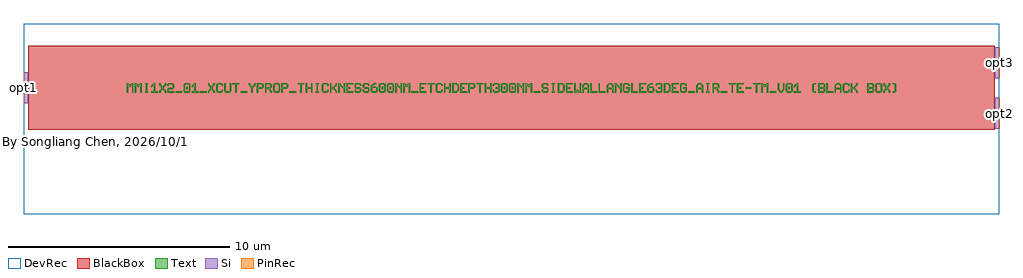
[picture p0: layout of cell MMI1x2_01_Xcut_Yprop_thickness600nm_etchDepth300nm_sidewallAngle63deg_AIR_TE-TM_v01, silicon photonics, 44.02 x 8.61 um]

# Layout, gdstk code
import gdstk
lib = gdstk.Library(unit=1e-6, precision=1e-10)
def R(c, l, rs):  # rectangles x0, y0, x1, y1
    for r in rs: c.add(gdstk.rectangle(r[:2], r[2:], *l))
def A(c, l, x, y, w, h, nx, ny, dx, dy):  # array of equal rectangles
    R(c, l, [(x+i*dx, y+j*dy, x+i*dx+w, y+j*dy+h) for i in range(nx) for j in range(ny)])
def P(c, l, *ps):  # polygons
    for p in ps: c.add(gdstk.Polygon(p, *l))
Si = (1, 0)
PinRec = (1, 10)
Text = (10, 0)
DevRec = (68, 0)
BlackBox = (998, 0)

text = lib.new_cell('TEXT')
A(text, Text, 7.34, 0, 0.306, 0.061, 3, 1, 5.505, 0)
R(text, Text, [(2.202,0,2.508,0.061), (3.303,0,3.609,0.061), (5.138,0,5.444,0.061), (25.323,0,25.629,0.061), (26.791,0,27.097,0.061), (28.993,0,29.299,0.061), (2.691,0.153,2.753,0.275), (11.499,0.153,11.561,0.275), (11.866,0.153,11.928,0.275), (17.004,0.153,17.066,0.275), (17.371,0.153,17.433,0.275), (29.849,0.153,29.911,0.275), (27.923,0.184,28.167,0.245)])
P(text, Text, [(0,0),(0,0.428),(0.061,0.428),(0.122,0.367),(0.184,0.367),(0.245,0.428),(0.306,0.428),(0.306,0),(0.245,0),(0.245,0.306),(0.214,0.306),(0.153,0.245),(0.092,0.306),(0.061,0.306),(0.061,0)],
  [(0.367,0),(0.367,0.428),(0.428,0.428),(0.489,0.367),(0.551,0.367),(0.612,0.428),(0.673,0.428),(0.673,0),(0.612,0),(0.612,0.306),(0.581,0.306),(0.52,0.245),(0.459,0.306),(0.428,0.306),(0.428,0)],
  [(0.826,0),(0.826,0.061),(0.856,0.061),(0.856,0.367),(0.826,0.367),(0.826,0.428),(0.948,0.428),(0.948,0.367),(0.918,0.367),(0.918,0.061),(0.948,0.061),(0.948,0)],
  [(1.101,0),(1.101,0.061),(1.223,0.061),(1.223,0.306),(1.193,0.306),(1.132,0.245),(1.101,0.245),(1.101,0.306),(1.223,0.428),(1.285,0.428),(1.285,0.061),(1.407,0.061),(1.407,0)],
  [(1.468,0),(1.468,0.092),(1.56,0.184),(1.56,0.245),(1.468,0.337),(1.468,0.428),(1.529,0.428),(1.529,0.367),(1.621,0.275),(1.713,0.367),(1.713,0.428),(1.774,0.428),(1.774,0.337),(1.682,0.245),(1.682,0.184),(1.774,0.092),(1.774,0),(1.713,0),(1.713,0.061),(1.621,0.153),(1.529,0.061),(1.529,0)],
  [(1.835,0),(1.835,0.153),(1.896,0.214),(2.049,0.214),(2.08,0.245),(2.08,0.337),(2.049,0.367),(1.927,0.367),(1.896,0.337),(1.896,0.306),(1.835,0.306),(1.835,0.367),(1.896,0.428),(2.08,0.428),(2.141,0.367),(2.141,0.214),(2.08,0.153),(1.927,0.153),(1.896,0.122),(1.896,0.061),(2.141,0.061),(2.141,0)],
  [(2.63,0),(2.569,0.061),(2.569,0.367),(2.63,0.428),(2.814,0.428),(2.875,0.367),(2.661,0.367),(2.63,0.337),(2.63,0.092),(2.661,0.061),(2.783,0.061),(2.814,0.092),(2.814,0.337),(2.783,0.367),(2.875,0.367),(2.875,0.061),(2.814,0)],
  [(2.936,0),(2.936,0.061),(3.058,0.061),(3.058,0.306),(3.028,0.306),(2.967,0.245),(2.936,0.245),(2.936,0.306),(3.058,0.428),(3.12,0.428),(3.12,0.061),(3.242,0.061),(3.242,0)],
  [(3.67,0),(3.67,0.092),(3.762,0.184),(3.762,0.245),(3.67,0.337),(3.67,0.428),(3.731,0.428),(3.731,0.367),(3.823,0.275),(3.915,0.367),(3.915,0.428),(3.976,0.428),(3.976,0.337),(3.884,0.245),(3.884,0.184),(3.976,0.092),(3.976,0),(3.915,0),(3.915,0.061),(3.823,0.153),(3.731,0.061),(3.731,0)],
  [(4.098,0),(4.037,0.061),(4.037,0.367),(4.098,0.428),(4.282,0.428),(4.343,0.367),(4.343,0.306),(4.282,0.306),(4.282,0.337),(4.251,0.367),(4.129,0.367),(4.098,0.337),(4.098,0.092),(4.129,0.061),(4.251,0.061),(4.282,0.092),(4.282,0.122),(4.343,0.122),(4.343,0.061),(4.282,0)],
  [(4.465,0),(4.404,0.061),(4.404,0.428),(4.465,0.428),(4.465,0.092),(4.496,0.061),(4.618,0.061),(4.649,0.092),(4.649,0.428),(4.71,0.428),(4.71,0.061),(4.649,0)],
  [(4.893,0),(4.893,0.367),(4.771,0.367),(4.771,0.428),(5.077,0.428),(5.077,0.367),(4.955,0.367),(4.955,0)],
  [(5.627,0),(5.627,0.214),(5.505,0.337),(5.505,0.428),(5.566,0.428),(5.566,0.367),(5.658,0.275),(5.75,0.367),(5.75,0.428),(5.811,0.428),(5.811,0.337),(5.689,0.214),(5.689,0)],
  [(5.872,0),(5.872,0.428),(6.117,0.428),(6.178,0.367),(6.178,0.245),(6.117,0.184),(5.933,0.184),(5.933,0.245),(6.086,0.245),(6.117,0.275),(6.117,0.337),(6.086,0.367),(5.933,0.367),(5.933,0)],
  [(6.239,0),(6.239,0.428),(6.484,0.428),(6.545,0.367),(6.3,0.367),(6.3,0.245),(6.453,0.245),(6.484,0.275),(6.484,0.337),(6.453,0.367),(6.545,0.367),(6.545,0.245),(6.484,0.184),(6.484,0.153),(6.545,0.092),(6.545,0),(6.484,0),(6.484,0.061),(6.361,0.184),(6.3,0.184),(6.3,0)],
  [(6.667,0),(6.606,0.061),(6.606,0.367),(6.667,0.428),(6.851,0.428),(6.912,0.367),(6.912,0.214),(6.851,0.214),(6.851,0.337),(6.82,0.367),(6.698,0.367),(6.667,0.337),(6.667,0.092),(6.698,0.061),(6.82,0.061),(6.851,0.092),(6.851,0.214),(6.912,0.214),(6.912,0.061),(6.851,0)],
  [(6.973,0),(6.973,0.428),(7.218,0.428),(7.279,0.367),(7.279,0.245),(7.218,0.184),(7.034,0.184),(7.034,0.245),(7.187,0.245),(7.218,0.275),(7.218,0.337),(7.187,0.367),(7.034,0.367),(7.034,0)],
  [(7.829,0),(7.829,0.367),(7.707,0.367),(7.707,0.428),(8.013,0.428),(8.013,0.367),(7.891,0.367),(7.891,0)],
  [(8.074,0),(8.074,0.428),(8.135,0.428),(8.135,0.245),(8.319,0.245),(8.319,0.428),(8.38,0.428),(8.38,0),(8.319,0),(8.319,0.184),(8.135,0.184),(8.135,0)],
  [(8.533,0),(8.533,0.061),(8.563,0.061),(8.563,0.367),(8.533,0.367),(8.533,0.428),(8.655,0.428),(8.655,0.367),(8.625,0.367),(8.625,0.061),(8.655,0.061),(8.655,0)],
  [(8.869,0),(8.808,0.061),(8.808,0.367),(8.869,0.428),(9.053,0.428),(9.114,0.367),(9.114,0.306),(9.053,0.306),(9.053,0.337),(9.022,0.367),(8.9,0.367),(8.869,0.337),(8.869,0.092),(8.9,0.061),(9.022,0.061),(9.053,0.092),(9.053,0.122),(9.114,0.122),(9.114,0.061),(9.053,0)],
  [(9.175,0),(9.175,0.428),(9.236,0.428),(9.236,0.245),(9.297,0.245),(9.42,0.367),(9.42,0.428),(9.481,0.428),(9.481,0.337),(9.359,0.214),(9.481,0.092),(9.481,0),(9.42,0),(9.42,0.061),(9.297,0.184),(9.236,0.184),(9.236,0)],
  [(9.542,0),(9.542,0.428),(9.603,0.428),(9.756,0.275),(9.787,0.275),(9.787,0.428),(9.848,0.428),(9.848,0),(9.787,0),(9.787,0.153),(9.634,0.306),(9.603,0.306),(9.603,0)],
  [(9.909,0),(9.909,0.428),(10.215,0.428),(10.215,0.367),(9.97,0.367),(9.97,0.245),(10.093,0.245),(10.093,0.184),(9.97,0.184),(9.97,0.061),(10.215,0.061),(10.215,0)],
  [(10.337,0),(10.276,0.061),(10.276,0.122),(10.337,0.122),(10.337,0.092),(10.368,0.061),(10.49,0.061),(10.521,0.092),(10.521,0.153),(10.49,0.184),(10.337,0.184),(10.276,0.245),(10.276,0.367),(10.337,0.428),(10.521,0.428),(10.582,0.367),(10.582,0.306),(10.521,0.306),(10.521,0.337),(10.49,0.367),(10.368,0.367),(10.337,0.337),(10.337,0.275),(10.368,0.245),(10.521,0.245),(10.582,0.184),(10.582,0.061),(10.521,0)],
  [(10.704,0),(10.643,0.061),(10.643,0.122),(10.704,0.122),(10.704,0.092),(10.735,0.061),(10.857,0.061),(10.888,0.092),(10.888,0.153),(10.857,0.184),(10.704,0.184),(10.643,0.245),(10.643,0.367),(10.704,0.428),(10.888,0.428),(10.949,0.367),(10.949,0.306),(10.888,0.306),(10.888,0.337),(10.857,0.367),(10.735,0.367),(10.704,0.337),(10.704,0.275),(10.735,0.245),(10.888,0.245),(10.949,0.184),(10.949,0.061),(10.888,0)],
  [(11.071,0),(11.01,0.061),(11.01,0.306),(11.132,0.428),(11.255,0.428),(11.255,0.367),(11.163,0.367),(11.102,0.306),(11.102,0.275),(11.255,0.275),(11.316,0.214),(11.102,0.214),(11.071,0.184),(11.071,0.092),(11.102,0.061),(11.224,0.061),(11.255,0.092),(11.255,0.184),(11.224,0.214),(11.316,0.214),(11.316,0.061),(11.255,0)],
  [(11.438,0),(11.377,0.061),(11.377,0.367),(11.438,0.428),(11.622,0.428),(11.683,0.367),(11.469,0.367),(11.438,0.337),(11.438,0.092),(11.469,0.061),(11.591,0.061),(11.622,0.092),(11.622,0.337),(11.591,0.367),(11.683,0.367),(11.683,0.061),(11.622,0)],
  [(11.805,0),(11.744,0.061),(11.744,0.367),(11.805,0.428),(11.989,0.428),(12.05,0.367),(11.836,0.367),(11.805,0.337),(11.805,0.092),(11.836,0.061),(11.958,0.061),(11.989,0.092),(11.989,0.337),(11.958,0.367),(12.05,0.367),(12.05,0.061),(11.989,0)],
  [(12.111,0),(12.111,0.428),(12.172,0.428),(12.325,0.275),(12.356,0.275),(12.356,0.428),(12.417,0.428),(12.417,0),(12.356,0),(12.356,0.153),(12.203,0.306),(12.172,0.306),(12.172,0)],
  [(12.478,0),(12.478,0.428),(12.539,0.428),(12.6,0.367),(12.662,0.367),(12.723,0.428),(12.784,0.428),(12.784,0),(12.723,0),(12.723,0.306),(12.692,0.306),(12.631,0.245),(12.57,0.306),(12.539,0.306),(12.539,0)],
  [(13.212,0),(13.212,0.428),(13.518,0.428),(13.518,0.367),(13.273,0.367),(13.273,0.245),(13.396,0.245),(13.396,0.184),(13.273,0.184),(13.273,0.061),(13.518,0.061),(13.518,0)],
  [(13.701,0),(13.701,0.367),(13.579,0.367),(13.579,0.428),(13.885,0.428),(13.885,0.367),(13.763,0.367),(13.763,0)],
  [(14.007,0),(13.946,0.061),(13.946,0.367),(14.007,0.428),(14.191,0.428),(14.252,0.367),(14.252,0.306),(14.191,0.306),(14.191,0.337),(14.16,0.367),(14.038,0.367),(14.007,0.337),(14.007,0.092),(14.038,0.061),(14.16,0.061),(14.191,0.092),(14.191,0.122),(14.252,0.122),(14.252,0.061),(14.191,0)],
  [(14.313,0),(14.313,0.428),(14.374,0.428),(14.374,0.245),(14.558,0.245),(14.558,0.428),(14.619,0.428),(14.619,0),(14.558,0),(14.558,0.184),(14.374,0.184),(14.374,0)],
  [(14.68,0),(14.68,0.428),(14.894,0.428),(14.955,0.367),(14.741,0.367),(14.741,0.061),(14.864,0.061),(14.925,0.122),(14.925,0.306),(14.864,0.367),(14.955,0.367),(14.986,0.337),(14.986,0.092),(14.894,0)],
  [(15.047,0),(15.047,0.428),(15.353,0.428),(15.353,0.367),(15.108,0.367),(15.108,0.245),(15.231,0.245),(15.231,0.184),(15.108,0.184),(15.108,0.061),(15.353,0.061),(15.353,0)],
  [(15.414,0),(15.414,0.428),(15.659,0.428),(15.72,0.367),(15.72,0.245),(15.659,0.184),(15.475,0.184),(15.475,0.245),(15.628,0.245),(15.659,0.275),(15.659,0.337),(15.628,0.367),(15.475,0.367),(15.475,0)],
  [(15.903,0),(15.903,0.367),(15.781,0.367),(15.781,0.428),(16.087,0.428),(16.087,0.367),(15.965,0.367),(15.965,0)],
  [(16.148,0),(16.148,0.428),(16.209,0.428),(16.209,0.245),(16.393,0.245),(16.393,0.428),(16.454,0.428),(16.454,0),(16.393,0),(16.393,0.184),(16.209,0.184),(16.209,0)],
  [(16.576,0),(16.515,0.061),(16.515,0.122),(16.576,0.122),(16.576,0.092),(16.607,0.061),(16.729,0.061),(16.76,0.092),(16.76,0.153),(16.729,0.184),(16.637,0.184),(16.637,0.245),(16.729,0.245),(16.76,0.275),(16.76,0.337),(16.729,0.367),(16.607,0.367),(16.576,0.337),(16.576,0.306),(16.515,0.306),(16.515,0.367),(16.576,0.428),(16.76,0.428),(16.821,0.367),(16.821,0.245),(16.79,0.214),(16.821,0.184),(16.821,0.061),(16.76,0)],
  [(16.943,0),(16.882,0.061),(16.882,0.367),(16.943,0.428),(17.127,0.428),(17.188,0.367),(16.974,0.367),(16.943,0.337),(16.943,0.092),(16.974,0.061),(17.096,0.061),(17.127,0.092),(17.127,0.337),(17.096,0.367),(17.188,0.367),(17.188,0.061),(17.127,0)],
  [(17.31,0),(17.249,0.061),(17.249,0.367),(17.31,0.428),(17.494,0.428),(17.555,0.367),(17.341,0.367),(17.31,0.337),(17.31,0.092),(17.341,0.061),(17.463,0.061),(17.494,0.092),(17.494,0.337),(17.463,0.367),(17.555,0.367),(17.555,0.061),(17.494,0)],
  [(17.616,0),(17.616,0.428),(17.677,0.428),(17.83,0.275),(17.861,0.275),(17.861,0.428),(17.922,0.428),(17.922,0),(17.861,0),(17.861,0.153),(17.708,0.306),(17.677,0.306),(17.677,0)],
  [(17.983,0),(17.983,0.428),(18.044,0.428),(18.105,0.367),(18.167,0.367),(18.228,0.428),(18.289,0.428),(18.289,0),(18.228,0),(18.228,0.306),(18.197,0.306),(18.136,0.245),(18.075,0.306),(18.044,0.306),(18.044,0)],
  [(18.778,0),(18.717,0.061),(18.717,0.122),(18.778,0.122),(18.778,0.092),(18.809,0.061),(18.931,0.061),(18.962,0.092),(18.962,0.153),(18.931,0.184),(18.778,0.184),(18.717,0.245),(18.717,0.367),(18.778,0.428),(18.962,0.428),(19.023,0.367),(19.023,0.306),(18.962,0.306),(18.962,0.337),(18.931,0.367),(18.809,0.367),(18.778,0.337),(18.778,0.275),(18.809,0.245),(18.962,0.245),(19.023,0.184),(19.023,0.061),(18.962,0)],
  [(19.176,0),(19.176,0.061),(19.206,0.061),(19.206,0.367),(19.176,0.367),(19.176,0.428),(19.298,0.428),(19.298,0.367),(19.268,0.367),(19.268,0.061),(19.298,0.061),(19.298,0)],
  [(19.451,0),(19.451,0.428),(19.665,0.428),(19.726,0.367),(19.512,0.367),(19.512,0.061),(19.635,0.061),(19.696,0.122),(19.696,0.306),(19.635,0.367),(19.726,0.367),(19.757,0.337),(19.757,0.092),(19.665,0)],
  [(19.818,0),(19.818,0.428),(20.124,0.428),(20.124,0.367),(19.879,0.367),(19.879,0.245),(20.002,0.245),(20.002,0.184),(19.879,0.184),(19.879,0.061),(20.124,0.061),(20.124,0)],
  [(20.185,0),(20.185,0.428),(20.246,0.428),(20.246,0.092),(20.277,0.092),(20.338,0.153),(20.399,0.092),(20.43,0.092),(20.43,0.428),(20.491,0.428),(20.491,0),(20.399,0),(20.338,0.061),(20.277,0)],
  [(20.552,0),(20.552,0.337),(20.644,0.428),(20.766,0.428),(20.827,0.367),(20.674,0.367),(20.613,0.306),(20.613,0.214),(20.797,0.214),(20.797,0.306),(20.736,0.367),(20.827,0.367),(20.858,0.337),(20.858,0),(20.797,0),(20.797,0.153),(20.613,0.153),(20.613,0)],
  [(20.919,0),(20.919,0.428),(20.98,0.428),(20.98,0.061),(21.225,0.061),(21.225,0)],
  [(21.286,0),(21.286,0.428),(21.347,0.428),(21.347,0.061),(21.592,0.061),(21.592,0)],
  [(21.653,0),(21.653,0.337),(21.745,0.428),(21.867,0.428),(21.928,0.367),(21.775,0.367),(21.714,0.306),(21.714,0.214),(21.898,0.214),(21.898,0.306),(21.837,0.367),(21.928,0.367),(21.959,0.337),(21.959,0),(21.898,0),(21.898,0.153),(21.714,0.153),(21.714,0)],
  [(22.02,0),(22.02,0.428),(22.081,0.428),(22.234,0.275),(22.265,0.275),(22.265,0.428),(22.326,0.428),(22.326,0),(22.265,0),(22.265,0.153),(22.112,0.306),(22.081,0.306),(22.081,0)],
  [(22.448,0),(22.387,0.061),(22.387,0.367),(22.448,0.428),(22.632,0.428),(22.693,0.367),(22.693,0.306),(22.632,0.306),(22.632,0.337),(22.601,0.367),(22.479,0.367),(22.448,0.337),(22.448,0.092),(22.479,0.061),(22.601,0.061),(22.632,0.092),(22.632,0.184),(22.54,0.184),(22.54,0.245),(22.693,0.245),(22.693,0.061),(22.632,0)],
  [(22.754,0),(22.754,0.428),(22.815,0.428),(22.815,0.061),(23.06,0.061),(23.06,0)],
  [(23.121,0),(23.121,0.428),(23.427,0.428),(23.427,0.367),(23.182,0.367),(23.182,0.245),(23.305,0.245),(23.305,0.184),(23.182,0.184),(23.182,0.061),(23.427,0.061),(23.427,0)],
  [(23.549,0),(23.488,0.061),(23.488,0.306),(23.61,0.428),(23.733,0.428),(23.733,0.367),(23.641,0.367),(23.58,0.306),(23.58,0.275),(23.733,0.275),(23.794,0.214),(23.58,0.214),(23.549,0.184),(23.549,0.092),(23.58,0.061),(23.702,0.061),(23.733,0.092),(23.733,0.184),(23.702,0.214),(23.794,0.214),(23.794,0.061),(23.733,0)],
  [(23.916,0),(23.855,0.061),(23.855,0.122),(23.916,0.122),(23.916,0.092),(23.947,0.061),(24.069,0.061),(24.1,0.092),(24.1,0.153),(24.069,0.184),(23.977,0.184),(23.977,0.245),(24.069,0.245),(24.1,0.275),(24.1,0.337),(24.069,0.367),(23.947,0.367),(23.916,0.337),(23.916,0.306),(23.855,0.306),(23.855,0.367),(23.916,0.428),(24.1,0.428),(24.161,0.367),(24.161,0.245),(24.13,0.214),(24.161,0.184),(24.161,0.061),(24.1,0)],
  [(24.222,0),(24.222,0.428),(24.436,0.428),(24.497,0.367),(24.283,0.367),(24.283,0.061),(24.406,0.061),(24.467,0.122),(24.467,0.306),(24.406,0.367),(24.497,0.367),(24.528,0.337),(24.528,0.092),(24.436,0)],
  [(24.589,0),(24.589,0.428),(24.895,0.428),(24.895,0.367),(24.65,0.367),(24.65,0.245),(24.773,0.245),(24.773,0.184),(24.65,0.184),(24.65,0.061),(24.895,0.061),(24.895,0)],
  [(25.017,0),(24.956,0.061),(24.956,0.367),(25.017,0.428),(25.201,0.428),(25.262,0.367),(25.262,0.306),(25.201,0.306),(25.201,0.337),(25.17,0.367),(25.048,0.367),(25.017,0.337),(25.017,0.092),(25.048,0.061),(25.17,0.061),(25.201,0.092),(25.201,0.184),(25.109,0.184),(25.109,0.245),(25.262,0.245),(25.262,0.061),(25.201,0)],
  [(25.69,0),(25.69,0.337),(25.782,0.428),(25.904,0.428),(25.965,0.367),(25.812,0.367),(25.751,0.306),(25.751,0.214),(25.935,0.214),(25.935,0.306),(25.874,0.367),(25.965,0.367),(25.996,0.337),(25.996,0),(25.935,0),(25.935,0.153),(25.751,0.153),(25.751,0)],
  [(26.149,0),(26.149,0.061),(26.179,0.061),(26.179,0.367),(26.149,0.367),(26.149,0.428),(26.271,0.428),(26.271,0.367),(26.241,0.367),(26.241,0.061),(26.271,0.061),(26.271,0)],
  [(26.424,0),(26.424,0.428),(26.669,0.428),(26.73,0.367),(26.485,0.367),(26.485,0.245),(26.638,0.245),(26.669,0.275),(26.669,0.337),(26.638,0.367),(26.73,0.367),(26.73,0.245),(26.669,0.184),(26.669,0.153),(26.73,0.092),(26.73,0),(26.669,0),(26.669,0.061),(26.546,0.184),(26.485,0.184),(26.485,0)],
  [(27.28,0),(27.28,0.367),(27.158,0.367),(27.158,0.428),(27.464,0.428),(27.464,0.367),(27.342,0.367),(27.342,0)],
  [(27.525,0),(27.525,0.428),(27.831,0.428),(27.831,0.367),(27.586,0.367),(27.586,0.245),(27.709,0.245),(27.709,0.184),(27.586,0.184),(27.586,0.061),(27.831,0.061),(27.831,0)],
  [(28.381,0),(28.381,0.367),(28.259,0.367),(28.259,0.428),(28.565,0.428),(28.565,0.367),(28.443,0.367),(28.443,0)],
  [(28.626,0),(28.626,0.428),(28.687,0.428),(28.748,0.367),(28.81,0.367),(28.871,0.428),(28.932,0.428),(28.932,0),(28.871,0),(28.871,0.306),(28.84,0.306),(28.779,0.245),(28.718,0.306),(28.687,0.306),(28.687,0)],
  [(29.482,0),(29.36,0.122),(29.36,0.428),(29.421,0.428),(29.421,0.153),(29.513,0.061),(29.605,0.153),(29.605,0.428),(29.666,0.428),(29.666,0.122),(29.544,0)],
  [(29.788,0),(29.727,0.061),(29.727,0.367),(29.788,0.428),(29.972,0.428),(30.033,0.367),(29.819,0.367),(29.788,0.337),(29.788,0.092),(29.819,0.061),(29.941,0.061),(29.972,0.092),(29.972,0.337),(29.941,0.367),(30.033,0.367),(30.033,0.061),(29.972,0)],
  [(30.094,0),(30.094,0.061),(30.216,0.061),(30.216,0.306),(30.186,0.306),(30.125,0.245),(30.094,0.245),(30.094,0.306),(30.216,0.428),(30.278,0.428),(30.278,0.061),(30.4,0.061),(30.4,0)],
  [(30.981,0),(30.92,0.061),(30.92,0.367),(30.981,0.428),(31.073,0.428),(31.073,0.367),(31.012,0.367),(30.981,0.337),(30.981,0.092),(31.012,0.061),(31.073,0.061),(31.073,0)],
  [(31.195,0),(31.195,0.428),(31.44,0.428),(31.501,0.367),(31.256,0.367),(31.256,0.245),(31.409,0.245),(31.44,0.275),(31.44,0.337),(31.409,0.367),(31.501,0.367),(31.501,0.245),(31.47,0.214),(31.501,0.184),(31.256,0.184),(31.256,0.061),(31.409,0.061),(31.44,0.092),(31.44,0.153),(31.409,0.184),(31.501,0.184),(31.501,0.061),(31.44,0)],
  [(31.562,0),(31.562,0.428),(31.623,0.428),(31.623,0.061),(31.868,0.061),(31.868,0)],
  [(31.929,0),(31.929,0.337),(32.021,0.428),(32.143,0.428),(32.204,0.367),(32.051,0.367),(31.99,0.306),(31.99,0.214),(32.174,0.214),(32.174,0.306),(32.113,0.367),(32.204,0.367),(32.235,0.337),(32.235,0),(32.174,0),(32.174,0.153),(31.99,0.153),(31.99,0)],
  [(32.357,0),(32.296,0.061),(32.296,0.367),(32.357,0.428),(32.541,0.428),(32.602,0.367),(32.602,0.306),(32.541,0.306),(32.541,0.337),(32.51,0.367),(32.388,0.367),(32.357,0.337),(32.357,0.092),(32.388,0.061),(32.51,0.061),(32.541,0.092),(32.541,0.122),(32.602,0.122),(32.602,0.061),(32.541,0)],
  [(32.663,0),(32.663,0.428),(32.724,0.428),(32.724,0.245),(32.785,0.245),(32.908,0.367),(32.908,0.428),(32.969,0.428),(32.969,0.337),(32.847,0.214),(32.969,0.092),(32.969,0),(32.908,0),(32.908,0.061),(32.785,0.184),(32.724,0.184),(32.724,0)],
  [(33.397,0),(33.397,0.428),(33.642,0.428),(33.703,0.367),(33.458,0.367),(33.458,0.245),(33.611,0.245),(33.642,0.275),(33.642,0.337),(33.611,0.367),(33.703,0.367),(33.703,0.245),(33.672,0.214),(33.703,0.184),(33.458,0.184),(33.458,0.061),(33.611,0.061),(33.642,0.092),(33.642,0.153),(33.611,0.184),(33.703,0.184),(33.703,0.061),(33.642,0)],
  [(33.825,0),(33.764,0.061),(33.764,0.367),(33.825,0.428),(34.009,0.428),(34.07,0.367),(34.07,0.214),(34.009,0.214),(34.009,0.337),(33.978,0.367),(33.856,0.367),(33.825,0.337),(33.825,0.092),(33.856,0.061),(33.978,0.061),(34.009,0.092),(34.009,0.214),(34.07,0.214),(34.07,0.061),(34.009,0)],
  [(34.131,0),(34.131,0.092),(34.223,0.184),(34.223,0.245),(34.131,0.337),(34.131,0.428),(34.192,0.428),(34.192,0.367),(34.284,0.275),(34.376,0.367),(34.376,0.428),(34.437,0.428),(34.437,0.337),(34.345,0.245),(34.345,0.184),(34.437,0.092),(34.437,0),(34.376,0),(34.376,0.061),(34.284,0.153),(34.192,0.061),(34.192,0)],
  [(34.559,0),(34.559,0.061),(34.62,0.061),(34.651,0.092),(34.651,0.337),(34.62,0.367),(34.559,0.367),(34.559,0.428),(34.651,0.428),(34.712,0.367),(34.712,0.061),(34.651,0)])

mmi1x2_01_xcut_yprop_thi = lib.new_cell('MMI1x2_01_Xcut_Yprop_thickness600nm_etchDepth300nm_sidewallAngle63deg_AIR_TE-TM_v01')
R(mmi1x2_01_xcut_yprop_thi, Si, [(21.8,-1.84,22,-0.44), (-22,-0.7,-21.8,0.7), (21.8,0.44,22,1.84)])
R(mmi1x2_01_xcut_yprop_thi, DevRec, [(-22,-5.7093,22,2.9)])
R(mmi1x2_01_xcut_yprop_thi, BlackBox, [(-21.8,-1.9,21.8,1.9)])
mmi1x2_01_xcut_yprop_thi.add(gdstk.FlexPath([(-21.99,0),(-22.01,0)], 1.4, ends="flush", simple_path=True, layer=1, datatype=10))  # PinRec
mmi1x2_01_xcut_yprop_thi.add(gdstk.FlexPath([(21.99,-1.14),(22.01,-1.14)], 1.4, ends="flush", simple_path=True, layer=1, datatype=10))  # PinRec
mmi1x2_01_xcut_yprop_thi.add(gdstk.FlexPath([(21.99,1.14),(22.01,1.14)], 1.4, ends="flush", simple_path=True, layer=1, datatype=10))  # PinRec
mmi1x2_01_xcut_yprop_thi.add(gdstk.Reference(text, (-17.356,-0.214)))
mmi1x2_01_xcut_yprop_thi.add(gdstk.Label('opt1', (-22,0), layer=1, texttype=10))
mmi1x2_01_xcut_yprop_thi.add(gdstk.Label('opt2', (22,-1.14), layer=1, texttype=10))
mmi1x2_01_xcut_yprop_thi.add(gdstk.Label('opt3', (22,1.14), layer=1, texttype=10))
mmi1x2_01_xcut_yprop_thi.add(gdstk.Label('By Songliang Chen, 2026/10/13', (-21.5,-2.4), layer=10, texttype=0))

lib.write_gds('MMI1x2_01_Xcut_Yprop_thickness600nm_etchDepth300nm_sidewallAngle63deg_AIR_TE-TM_v01.gds')
